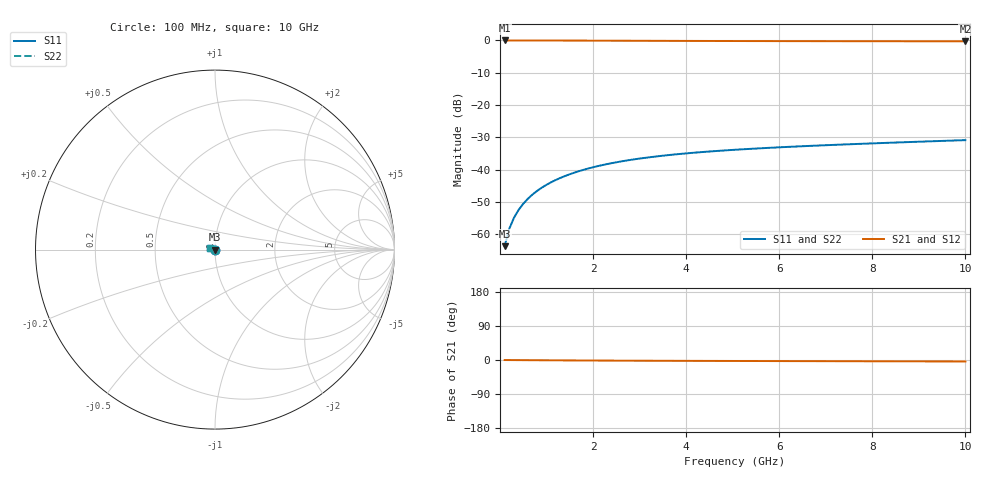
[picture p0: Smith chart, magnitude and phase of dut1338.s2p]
! Touchstone file exported from HFSS 2024.1.0
!  File:  C:/UserFiles/LocalFiles/RDL_TSV_Batchsim/temp_TSV1_1338_1780376127.aedt
!  Generated:  01:00:17 PM Jun  2, 2026
!  Design:  TSV1
!  Project:  temp_TSV1_1338_1780376127
!  Setup:  Setup1
!  Solution:  Sweep
! Variables:
!  dtsv = 6.5um
!  hbump = 3um
!  htsv = 57.42um
!  lrdl = 252.1521522um
!  p = 40
!  p1 = 42.98um
!  t = 500um
!  trdl = 3um
!  wrdl = 24.89489489um
# GHz S MA R 50.000000
! Terminal data exported
! Port[1] = TSV22_T1
! Port[2] = TSV22_T2
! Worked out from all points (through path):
!   100 points, 100 MHz to 10 GHz, reference 50 ohm
!   highest |S21| = 0.00 dB at 100 MHz (marker M1); lowest = -0.3 dB at 10 GHz (marker M2)
!   lowest |S11| = -63.7 dB at 100 MHz (marker M3), VSWR 1.00, Z = 50 - j0.0597 ohm
!   |S11| at or under -10 dB: start of sweep to end of sweep
!   |S22| runs from -63.7 to -30.9 dB; largest |S21 - S12| = 2.1e-15
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0.1  0.0006501 -66.6  0.9997 -0.1  0.9997 -0.1  0.0006501 -66.6
! Gamma 0 0 0 0
! Port Impedance 50 0 50 0
0.2  0.001207 -80.7  0.9996 -0.2  0.9996 -0.2  0.001207 -80.7
0.3  0.001784 -87.0  0.9995 -0.2  0.9995 -0.2  0.001784 -87.0
0.4  0.002366 -91.2  0.9994 -0.3  0.9994 -0.3  0.002366 -91.2
0.5  0.002949 -94.4  0.9992 -0.4  0.9992 -0.4  0.002949 -94.4
0.6  0.003531 -97.2  0.9989 -0.5  0.9989 -0.5  0.003531 -97.2
0.7  0.004108 -99.7  0.9987 -0.5  0.9987 -0.5  0.004108 -99.7
0.8  0.00468 -102.0  0.9984 -0.6  0.9984 -0.6  0.00468 -102.0
0.9  0.005246 -104.1  0.9981 -0.7  0.9981 -0.7  0.005246 -104.1
1.1  0.006355 -108.2  0.9973 -0.8  0.9973 -0.8  0.006355 -108.2
1.4  0.007949 -113.8  0.9961 -1.0  0.9961 -1.0  0.007949 -113.8
1.6  0.00896 -117.4  0.9952 -1.2  0.9952 -1.2  0.00896 -117.4
1.8  0.009927 -120.8  0.9942 -1.3  0.9942 -1.3  0.009927 -120.8
2.1  0.01129 -125.8  0.9927 -1.5  0.9927 -1.5  0.01129 -125.8
2.5  0.01295 -131.9  0.9906 -1.7  0.9906 -1.7  0.01295 -131.9
2.9  0.01444 -137.6  0.9885 -1.8  0.9885 -1.8  0.01444 -137.6
3.4  0.01609 -144.3  0.9861 -2.0  0.9861 -2.0  0.01609 -144.3
4.2  0.01831 -153.7  0.9825 -2.3  0.9825 -2.3  0.01831 -153.7
5.1  0.02036 -162.9  0.9793 -2.6  0.9793 -2.6  0.02036 -162.9
6.7  0.02332 -176.3  0.975 -3.0  0.975 -3.0  0.02332 -176.3
8.4  0.02605 172.3  0.972 -3.5  0.972 -3.5  0.02605 172.3
10  0.02856 163.5  0.9699 -3.9  0.9699 -3.9  0.02856 163.5
